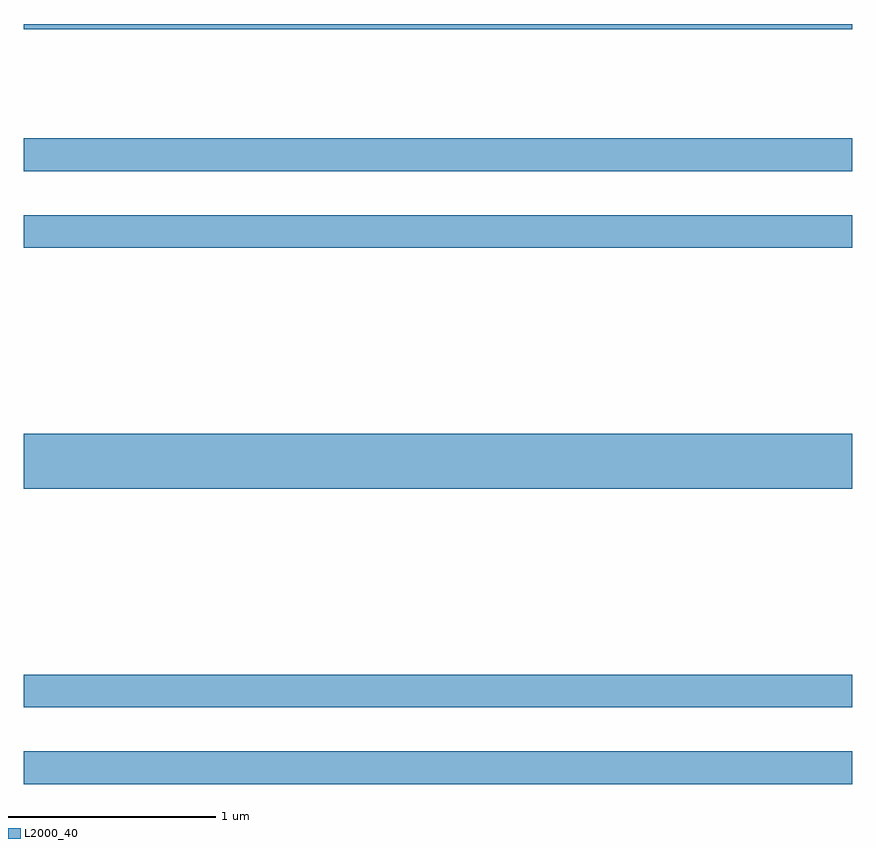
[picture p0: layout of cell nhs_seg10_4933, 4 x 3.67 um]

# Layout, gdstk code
import gdstk
lib = gdstk.Library(unit=1e-6, precision=1e-09)
def R(c, l, rs):  # rectangles x0, y0, x1, y1
    for r in rs: c.add(gdstk.rectangle(r[:2], r[2:], *l))
L2000_40 = (2000, 40)

nhs_seg10_4933 = lib.new_cell('nhs_seg10_4933')
R(nhs_seg10_4933, L2000_40, [(329.611,2196.851,333.611,2197.009), (329.611,2197.221,333.611,2197.379), (329.611,2198.276,333.611,2198.544), (329.611,2199.441,333.611,2199.599), (329.611,2199.811,333.611,2199.969), (329.611,2200.496,333.611,2200.522)])

lib.write_gds('nhs_seg10_4933.gds')
